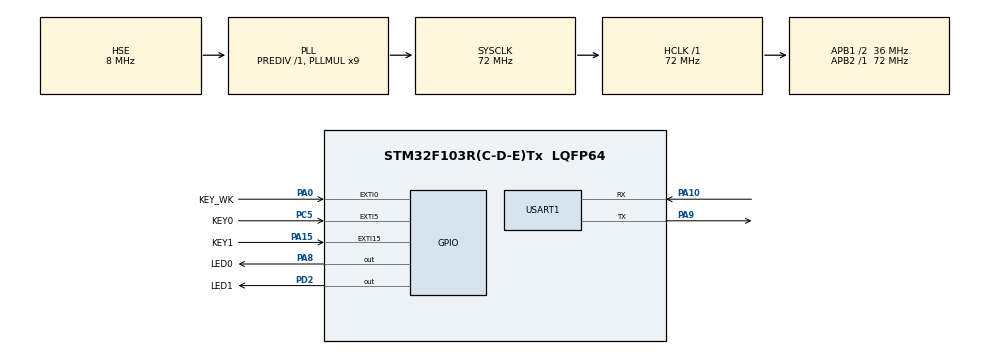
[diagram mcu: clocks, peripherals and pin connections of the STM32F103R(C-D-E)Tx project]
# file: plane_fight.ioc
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Mcu.Family=STM32F1
Mcu.Name=STM32F103R(C-D-E)Tx
Mcu.Package=LQFP64
NVIC.PriorityGroup=NVIC_PRIORITYGROUP_4
PA0-WKUP.GPIO_Label=KEY_WK
PA0-WKUP.GPIO_PuPd=GPIO_PULLDOWN
PA0-WKUP.Signal=GPXTI0
PA10.Mode=Asynchronous
PA10.Signal=USART1_RX
PA13.Mode=Serial_Wire
PA13.Signal=SYS_JTMS-SWDIO
PA14.Mode=Serial_Wire
PA14.Signal=SYS_JTCK-SWCLK
PA15.GPIO_Label=KEY1
PA15.GPIO_PuPd=GPIO_PULLUP
PA15.Signal=GPXTI15
PA8.GPIO_Label=LED0
PA8.Signal=GPIO_Output
PA9.Mode=Asynchronous
PA9.Signal=USART1_TX
PC14-OSC32_IN.Mode=LSE-External-Oscillator
PC14-OSC32_IN.Signal=RCC_OSC32_IN
PC15-OSC32_OUT.Mode=LSE-External-Oscillator
PC15-OSC32_OUT.Signal=RCC_OSC32_OUT
PC5.GPIO_Label=KEY0
PC5.GPIO_PuPd=GPIO_PULLUP
PC5.Signal=GPXTI5
PD0-OSC_IN.Mode=HSE-External-Oscillator
PD0-OSC_IN.Signal=RCC_OSC_IN
PD1-OSC_OUT.Mode=HSE-External-Oscillator
PD1-OSC_OUT.Signal=RCC_OSC_OUT
PD2.GPIO_Label=LED1
PD2.Signal=GPIO_Output
ProjectManager.HeapSize=0x200
ProjectManager.StackSize=0x400
ProjectManager.TargetToolchain=STM32CubeIDE
RCC.AHBFreq_Value=72000000
RCC.APB1CLKDivider=RCC_HCLK_DIV2
RCC.APB1Freq_Value=36000000
RCC.APB1TimFreq_Value=72000000
RCC.APB2Freq_Value=72000000
RCC.APB2TimFreq_Value=72000000
RCC.HCLKFreq_Value=72000000
RCC.PLLMUL=RCC_PLL_MUL9
RCC.PLLSourceVirtual=RCC_PLLSOURCE_HSE
RCC.RTCClockSelection=RCC_RTCCLKSOURCE_LSE
RCC.SYSCLKFreq_VALUE=72000000
RCC.SYSCLKSource=RCC_SYSCLKSOURCE_PLLCLK
RCC.USBFreq_Value=72000000
USART1.VirtualMode=VM_ASYNC
VP_RTC_VS_RTC_Activate.Mode=RTC_Enabled
board=custom

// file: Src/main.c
/* USER CODE BEGIN Header */
/**
  ******************************************************************************
  * @file           : main.c
  * @brief          : Main program body
  ******************************************************************************
  * @attention
  *
  * <h2><center>&copy; Copyright (c) 2019 STMicroelectronics.
  * All rights reserved.</center></h2>
  *
  * This software component is licensed by ST under BSD 3-Clause license,
  * the "License"; You may not use this file except in compliance with the
  * License. You may obtain a copy of the License at:
  *                        opensource.org/licenses/BSD-3-Clause
  *
  ******************************************************************************
  */
/* USER CODE END Header */

#include "run.h"
#include "main.h"
#include "lcd.h"
#include <stdlib.h>
#include "data.h"
#include "draw.h"

RTC_HandleTypeDef hrtc;
RTC_TimeTypeDef stimestructure;
UART_HandleTypeDef huart1;

void SystemClock_Config(void);
static void MX_GPIO_Init(void);
static void MX_USART1_UART_Init(void);
static void MX_RTC_Init(void);
/* USER CODE BEGIN PFP */
void all_init(void);
void init_interface_info(void);
void init_interface_info_second_time(void);
void draw_all_through_struct();
/* USER CODE END PFP */

int main(void)
{

  /* MCU Configuration--------------------------------------------------------*/

  /* Reset of all peripherals, Initializes the Flash interface and the Systick. */
  HAL_Init();

  /* Configure the system clock */
  SystemClock_Config();

  /* USER CODE BEGIN SysInit */
  LCD_Init();
  /* USER CODE END SysInit */

  /* Initialize all configured peripherals */
  MX_GPIO_Init();
  MX_USART1_UART_Init();
  MX_RTC_Init();
  /* USER CODE BEGIN 2 */
  all_init();
  draw_all_through_struct();
  HAL_Delay(500);
  /* USER CODE END 2 */

  /* Infinite loop */
  /* USER CODE BEGIN WHILE */
  while (1)
  {
	  while (1){
		  if(interface.life == 0 || interface.boss_life == 0){break;}

		  if(interface.score >= 40 && interface.come_boss == 1){
		  	interface.boss[0] = 127;
		  	interface.boss[1] = 85;
		  	interface.come_boss = 0;

		  	clear_all_enemy_plane(interface.my_plane,	interface.enemy_planes, interface.my_buttles, interface.enemy_buttles);
		  }
		  if(interface.score % 10 == 0 && interface.score < 40){
		  	interface.level = interface.score/10 + 1;

		  }

		  switch_my_act(interface.my_plane,interface.my_buttles);
		  update_my_buttles(interface.my_buttles);

		  if(interface.boss[0] == 0){
		  	update_enemy_planes(interface.enemy_planes, interface.level);
		  	update_enemy_buttles(interface.enemy_buttles, interface.level);

		  	generate_enemy_planes(interface.level,interface.enemy_planes);
		  	generate_enemy_buttles(interface.level, interface.enemy_planes, interface.enemy_buttles);

		  	check_my_plane_to_enemy_plane_collide(&(interface.score),&(interface.life),	interface.my_plane,interface.enemy_planes);
		  	check_my_plane_to_enemy_buttles_collide(&(interface.life),	interface.enemy_buttles, interface.my_plane);
		  	check_my_buttles_to_enemy_plane_collide(&(interface.score),	interface.my_buttles, interface.enemy_planes);

		  }
		  else{
		  	update_enemy_buttles(interface.enemy_buttles, 1);
		  	move_boss(interface.boss, &(interface.pace));
		  	generate_boss_buttles(interface.boss, interface.enemy_buttles);
		  	check_my_plane_to_enemy_buttles_collide(&(interface.life),	interface.enemy_buttles, interface.my_plane);
		  	check_my_buttles_to_boss_collide(&(interface.score), &(interface.boss_life),	interface.my_buttles, interface.boss);
		  }

		  draw_all_through_struct();
		  HAL_Delay(20);

	  }

	  draw_end(&(interface.score),&(interface.score_2),&(interface.score_3));
	  KEY0_to_skip();
	  LCD_Clear(GRAY);

	  draw_start_page();
	  KEY0_to_skip();
	  LCD_Clear(GRAY);

	  init_interface_info_second_time();

	  init_play_interface();

	  draw_all_through_struct();
	  HAL_Delay(500);

  }
    /* USER CODE END WHILE */

}

void SystemClock_Config(void)
{
  RCC_OscInitTypeDef RCC_OscInitStruct = {0};
  RCC_ClkInitTypeDef RCC_ClkInitStruct = {0};
  RCC_PeriphCLKInitTypeDef PeriphClkInit = {0};

  /** Initializes the CPU, AHB and APB busses clocks
  */
  RCC_OscInitStruct.OscillatorType = RCC_OSCILLATORTYPE_HSE|RCC_OSCILLATORTYPE_LSE;
  RCC_OscInitStruct.HSEState = RCC_HSE_ON;
  RCC_OscInitStruct.HSEPredivValue = RCC_HSE_PREDIV_DIV1;
  RCC_OscInitStruct.LSEState = RCC_LSE_ON;
  RCC_OscInitStruct.HSIState = RCC_HSI_ON;
  RCC_OscInitStruct.PLL.PLLState = RCC_PLL_ON;
  RCC_OscInitStruct.PLL.PLLSource = RCC_PLLSOURCE_HSE;
  RCC_OscInitStruct.PLL.PLLMUL = RCC_PLL_MUL9;
  if (HAL_RCC_OscConfig(&RCC_OscInitStruct) != HAL_OK)
  {
    Error_Handler();
  }
  /** Initializes the CPU, AHB and APB busses clocks
  */
  RCC_ClkInitStruct.ClockType = RCC_CLOCKTYPE_HCLK|RCC_CLOCKTYPE_SYSCLK
                              |RCC_CLOCKTYPE_PCLK1|RCC_CLOCKTYPE_PCLK2;
  RCC_ClkInitStruct.SYSCLKSource = RCC_SYSCLKSOURCE_PLLCLK;
  RCC_ClkInitStruct.AHBCLKDivider = RCC_SYSCLK_DIV1;
  RCC_ClkInitStruct.APB1CLKDivider = RCC_HCLK_DIV2;
  RCC_ClkInitStruct.APB2CLKDivider = RCC_HCLK_DIV1;

  if (HAL_RCC_ClockConfig(&RCC_ClkInitStruct, FLASH_LATENCY_2) != HAL_OK)
  {
    Error_Handler();
  }
  PeriphClkInit.PeriphClockSelection = RCC_PERIPHCLK_RTC;
  PeriphClkInit.RTCClockSelection = RCC_RTCCLKSOURCE_LSE;
  if (HAL_RCCEx_PeriphCLKConfig(&PeriphClkInit) != HAL_OK)
  {
    Error_Handler();
  }
}

static void MX_RTC_Init(void)
{

  /** Initialize RTC Only
  */
  hrtc.Instance = RTC;
  hrtc.Init.AsynchPrediv = RTC_AUTO_1_SECOND;
  hrtc.Init.OutPut = RTC_OUTPUTSOURCE_ALARM;
  if (HAL_RTC_Init(&hrtc) != HAL_OK)
  {
    Error_Handler();
  }
  /* USER CODE BEGIN RTC_Init 2 */
  /*Configure GPIO pin Output Level */
  HAL_GPIO_WritePin(LED0_GPIO_Port, LED0_Pin, GPIO_PIN_SET);

  /*Configure GPIO pin Output Level */
  HAL_GPIO_WritePin(LED1_GPIO_Port, LED1_Pin, GPIO_PIN_SET);
  /* USER CODE END RTC_Init 2 */

}

static void MX_USART1_UART_Init(void)
{

  huart1.Instance = USART1;
  huart1.Init.BaudRate = 115200;
  huart1.Init.WordLength = UART_WORDLENGTH_8B;
  huart1.Init.StopBits = UART_STOPBITS_1;
  huart1.Init.Parity = UART_PARITY_NONE;
  huart1.Init.Mode = UART_MODE_TX_RX;
  huart1.Init.HwFlowCtl = UART_HWCONTROL_NONE;
  huart1.Init.OverSampling = UART_OVERSAMPLING_16;
  if (HAL_UART_Init(&huart1) != HAL_OK)
  {
    Error_Handler();
  }

}

static void MX_GPIO_Init(void)
{
  GPIO_InitTypeDef GPIO_InitStruct = {0};

  /* GPIO Ports Clock Enable */
  __HAL_RCC_GPIOC_CLK_ENABLE();
  __HAL_RCC_GPIOD_CLK_ENABLE();
  __HAL_RCC_GPIOA_CLK_ENABLE();

  /*Configure GPIO pin Output Level */
  HAL_GPIO_WritePin(LED0_GPIO_Port, LED0_Pin, GPIO_PIN_SET);

  /*Configure GPIO pin Output Level */
  HAL_GPIO_WritePin(LED1_GPIO_Port, LED1_Pin, GPIO_PIN_SET);

  /*Configure GPIO pin : KEY_WK_Pin */
  GPIO_InitStruct.Pin = KEY_WK_Pin;
  GPIO_InitStruct.Mode = GPIO_MODE_IT_RISING;
  GPIO_InitStruct.Pull = GPIO_PULLDOWN;
  HAL_GPIO_Init(KEY_WK_GPIO_Port, &GPIO_InitStruct);

  /*Configure GPIO pin : KEY0_Pin */
  GPIO_InitStruct.Pin = KEY0_Pin;
  GPIO_InitStruct.Mode = GPIO_MODE_IT_RISING;
  GPIO_InitStruct.Pull = GPIO_PULLUP;
  HAL_GPIO_Init(KEY0_GPIO_Port, &GPIO_InitStruct);

  /*Configure GPIO pin : LED0_Pin */
  GPIO_InitStruct.Pin = LED0_Pin;
  GPIO_InitStruct.Mode = GPIO_MODE_OUTPUT_PP;
  GPIO_InitStruct.Pull = GPIO_NOPULL;
  GPIO_InitStruct.Speed = GPIO_SPEED_FREQ_LOW;
  HAL_GPIO_Init(LED0_GPIO_Port, &GPIO_InitStruct);

  /*Configure GPIO pin : KEY1_Pin */
  GPIO_InitStruct.Pin = KEY1_Pin;
  GPIO_InitStruct.Mode = GPIO_MODE_IT_RISING;
  GPIO_InitStruct.Pull = GPIO_PULLUP;
  HAL_GPIO_Init(KEY1_GPIO_Port, &GPIO_InitStruct);

  /*Configure GPIO pin : LED1_Pin */
  GPIO_InitStruct.Pin = LED1_Pin;
  GPIO_InitStruct.Mode = GPIO_MODE_OUTPUT_PP;
  GPIO_InitStruct.Pull = GPIO_NOPULL;
  GPIO_InitStruct.Speed = GPIO_SPEED_FREQ_LOW;
  HAL_GPIO_Init(LED1_GPIO_Port, &GPIO_InitStruct);

}

/* USER CODE BEGIN 4 */
void draw_all_through_struct(){
	draw_play_all(interface.score,interface.life, interface.my_plane,interface.my_buttles,	interface.boss,	interface.enemy_planes, interface.enemy_buttles);
}

void all_init(void){
 	LCD_Init();
	BACK_COLOR=GRAY;

	POINT_COLOR=BLACK;
	LCD_Clear(GRAY);

	draw_start_page();
	KEY0_to_skip();
	LCD_Clear(GRAY);

	init_interface_info();

	init_play_interface();
}

void init_interface_info(void){
	int i=0;

	interface.score = 0;
	interface.score_2 = 0;
	interface.score_3 = 0;

	interface.life = 3;

	interface.my_plane[0] = 120;	interface.my_plane[1] = 290;

	for(i=0; i<my_buttle_max; i++){
		interface.my_buttles[i][0] = 0;
		interface.my_buttles[i][1] = 0;
	}

	interface.level = 0;
	interface.boss[0] = 0;	 interface.boss[1] = 0;
	interface.boss_life = 100;
	interface.come_boss = 1;
	interface.pace = 2;

	for(i=0; i<enemy_plane_max; i++){
		interface.enemy_planes[i][0] = 0;
		interface.enemy_planes[i][1] = 0;
	}

	for(i=0; i<enemy_buttle_max; i++){
		interface.enemy_buttles[i][0] = 0;
		interface.enemy_buttles[i][1] = 0;
	}
}

void init_interface_info_second_time(void){
	int i=0;

	interface.life = 3;

	interface.my_plane[0] = 120;	interface.my_plane[1] = 290;

	for(i=0; i<my_buttle_max; i++){
		interface.my_buttles[i][0] = 0;
		interface.my_buttles[i][1] = 0;
	}

	interface.level = 1;
	interface.boss[0] = 0;
	interface.boss[1] = 0;
	interface.boss_life = 100;
	interface.pace = 2;
	interface.come_boss = 1;

	for(i=0; i<enemy_plane_max; i++){
		interface.enemy_planes[i][0] = 0;
		interface.enemy_planes[i][1] = 0;
	}

	for(i=0; i<enemy_buttle_max; i++){
		interface.enemy_buttles[i][0] = 0;
		interface.enemy_buttles[i][1] = 0;
	}
}

/* USER CODE END 4 */

void Error_Handler(void)
{
}

/************************ (C) COPYRIGHT STMicroelectronics *****END OF FILE****/
